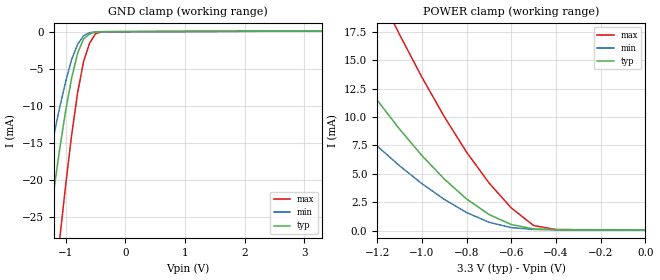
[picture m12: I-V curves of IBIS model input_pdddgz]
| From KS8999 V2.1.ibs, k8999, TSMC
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|   Model input_pdddgz
[Model]   input_pdddgz
Model_type   Input
Polarity   Non-Inverting
Vinl =   0.8000V
Vinh =   2.0000V
C_comp   1.58e-12F   1.72e-12F   1.52e-12F
[Temperature Range]   25   125   0
[Voltage Range]   3.30V   3.00V   3.60V
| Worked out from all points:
|   GND clamp passes 1 mA (typ) near -0.70 V on its own axis
|   POWER clamp passes 1 mA (typ) near -0.65 V on its own axis
[POWER_clamp]
| voltage   I(typ)   I(min)   I(max)
-3.3V     92.9mA     66.79mA    132.6mA
-1.7V     26.79mA    18.04mA    43.84mA
-1.5V     20.23mA    13.46mA    34.37mA
-1.4V     17.15mA    11.33mA    29.83mA
-1.1V     8.935mA    5.713mA    17.25mA
-900mV    4.551mA    2.758mA    10.03mA
-800mV    2.794mA    1.601mA    6.906mA
-700mV    1.431mA    747.9uA    4.208mA
-600mV    542.9uA    273.9uA    2.003mA
-500mV    158.5uA    116uA      456.3uA
-400mV    91uA       85.13uA    108.7uA
0V        78.57uA    71.43uA    85.71uA
[GND_clamp]
| voltage   I(typ)   I(min)   I(max)
-3.3V     -153mA     -108.5mA   -200.9mA
-1.5V     -40.27mA   -27.02mA   -61mA
-1.3V     -27.43mA   -18.15mA   -43.99mA
-1.1V     -15.75mA   -10.16mA   -27.92mA
-1V       -10.58mA   -6.69mA    -20.57mA
-900mV    -6.215mA   -3.704mA   -13.88mA
-800mV    -2.872mA   -1.695mA   -8.202mA
-700mV    -997.8uA   -549.9uA   -3.993mA
-600mV    -301.2uA   -135.2uA   -1.551mA
-500mV    -60.97uA   -34.07uA   -274.7uA
-400mV    -11.06uA   -12.93uA   -15.12uA
3.3V      78.57uA    79uA       78.57uA
